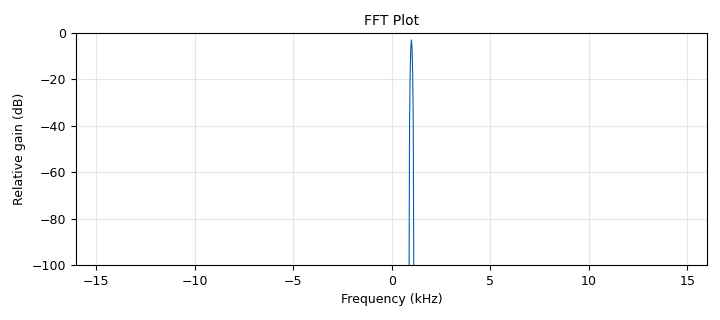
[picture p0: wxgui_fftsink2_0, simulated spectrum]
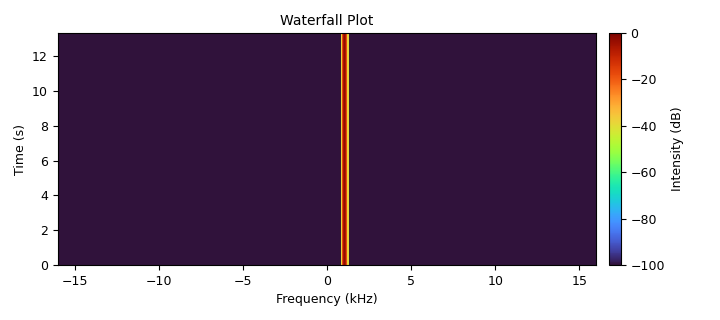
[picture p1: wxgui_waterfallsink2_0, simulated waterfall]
<?xml version='1.0' encoding='utf-8'?>
<?grc format='1' created='3.7.10'?>
<flow_graph>
<block>
<key>options</key>
<param><key>id</key><value>top_block</value></param>
<param><key>category</key><value>Custom</value></param>
<param><key>generate_options</key><value>wx_gui</value></param>
</block>
<block>
<key>variable_slider</key>
<param><key>id</key><value>freq</value></param>
<param><key>converver</key><value>float_converter</value></param>
<param><key>value</key><value>1e3</value></param>
<param><key>label</key><value></value></param>
<param><key>max</key><value>16e3</value></param>
<param><key>min</key><value>500</value></param>
<param><key>num_steps</key><value>100</value></param>
<param><key>style</key><value>wx.SL_HORIZONTAL</value></param>
</block>
<block>
<key>variable</key>
<param><key>id</key><value>samp_rate</value></param>
<param><key>value</key><value>32000</value></param>
</block>
<block>
<key>variable_slider</key>
<param><key>id</key><value>threshold_level</value></param>
<param><key>converver</key><value>float_converter</value></param>
<param><key>value</key><value>-10</value></param>
<param><key>label</key><value></value></param>
<param><key>max</key><value>60</value></param>
<param><key>min</key><value>-60</value></param>
<param><key>num_steps</key><value>100</value></param>
<param><key>style</key><value>wx.SL_HORIZONTAL</value></param>
</block>
<block>
<key>analog_sig_source_x</key>
<param><key>id</key><value>analog_sig_source_x_0</value></param>
<param><key>amp</key><value>1</value></param>
<param><key>freq</key><value>freq</value></param>
<param><key>offset</key><value>0</value></param>
<param><key>type</key><value>complex</value></param>
<param><key>samp_rate</key><value>samp_rate</value></param>
<param><key>waveform</key><value>analog.GR_COS_WAVE</value></param>
</block>
<block>
<key>blocks_throttle</key>
<param><key>id</key><value>blocks_throttle_0</value></param>
<param><key>samples_per_second</key><value>samp_rate</value></param>
<param><key>type</key><value>complex</value></param>
</block>
<block>
<key>wxgui_fftsink2</key>
<param><key>id</key><value>wxgui_fftsink2_0</value></param>
<param><key>avg_alpha</key><value>0</value></param>
<param><key>average</key><value>False</value></param>
<param><key>baseband_freq</key><value>0</value></param>
<param><key>fft_size</key><value>1024</value></param>
<param><key>freqvar</key><value>freq</value></param>
<param><key>freq_of_interest</key><value>freq</value></param>
<param><key>fft_in</key><value>False</value></param>
<param><key>fft_out</key><value>False</value></param>
<param><key>peak_hold</key><value>False</value></param>
<param><key>ref_level</key><value>0</value></param>
<param><key>ref_scale</key><value>2.0</value></param>
<param><key>fft_rate</key><value>15</value></param>
<param><key>always_run</key><value>False</value></param>
<param><key>samp_rate</key><value>samp_rate</value></param>
<param><key>threshold_level</key><value>threshold_level</value></param>
<param><key>title</key><value>FFT Plot</value></param>
<param><key>type</key><value>complex</value></param>
<param><key>win</key><value>None</value></param>
<param><key>y_divs</key><value>10</value></param>
<param><key>y_per_div</key><value>10</value></param>
</block>
<block>
<key>wxgui_waterfallsink2</key>
<param><key>id</key><value>wxgui_waterfallsink2_0</value></param>
<param><key>avg_alpha</key><value>0</value></param>
<param><key>average</key><value>False</value></param>
<param><key>baseband_freq</key><value>0</value></param>
<param><key>dynamic_range</key><value>100</value></param>
<param><key>fft_rate</key><value>15</value></param>
<param><key>fft_size</key><value>512</value></param>
<param><key>freqvar</key><value>freq</value></param>
<param><key>fft_in</key><value>False</value></param>
<param><key>fft_out</key><value>False</value></param>
<param><key>ref_scale</key><value>2.0</value></param>
<param><key>ref_level</key><value>0</value></param>
<param><key>always_run</key><value>False</value></param>
<param><key>samp_rate</key><value>samp_rate</value></param>
<param><key>title</key><value>Waterfall Plot</value></param>
<param><key>type</key><value>complex</value></param>
<param><key>win</key><value>None</value></param>
</block>
<connection><source_block_id>analog_sig_source_x_0</source_block_id><sink_block_id>blocks_throttle_0</sink_block_id><source_key>0</source_key><sink_key>0</sink_key></connection>
<connection><source_block_id>blocks_throttle_0</source_block_id><sink_block_id>wxgui_fftsink2_0</sink_block_id><source_key>0</source_key><sink_key>0</sink_key></connection>
<connection><source_block_id>blocks_throttle_0</source_block_id><sink_block_id>wxgui_waterfallsink2_0</sink_block_id><source_key>0</source_key><sink_key>0</sink_key></connection>
</flow_graph>
